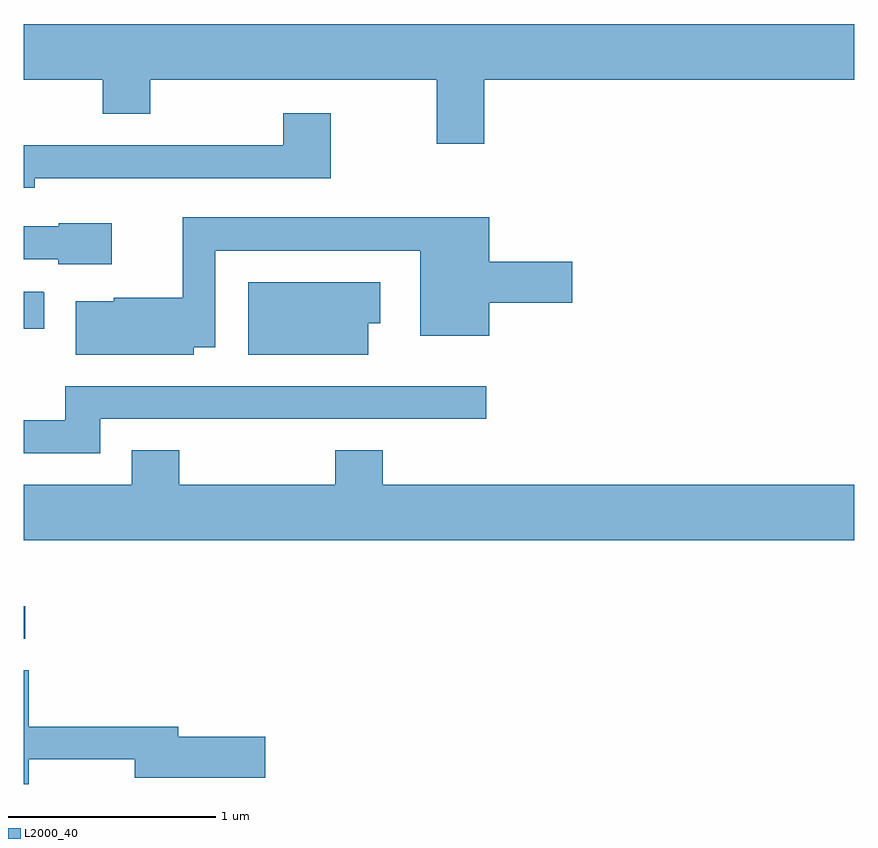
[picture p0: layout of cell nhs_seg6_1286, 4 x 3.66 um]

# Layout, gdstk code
import gdstk
lib = gdstk.Library(unit=1e-6, precision=1e-09)
def R(c, l, rs):  # rectangles x0, y0, x1, y1
    for r in rs: c.add(gdstk.rectangle(r[:2], r[2:], *l))
def P(c, l, *ps):  # polygons
    for p in ps: c.add(gdstk.Polygon(p, *l))
L2000_40 = (2000, 40)

nhs_seg6_1286 = lib.new_cell('nhs_seg6_1286')
R(nhs_seg6_1286, L2000_40, [(223.611,1582.861,223.618,1583.019)])
P(nhs_seg6_1286, L2000_40, [(225.829,1585.556),(227.611,1585.556),(227.611,1585.824),(223.611,1585.824),(223.611,1585.556),(223.991,1585.556),(223.991,1585.391),(224.219,1585.391),(224.219,1585.556),(225.601,1585.556),(225.601,1585.246),(225.829,1585.246)],
  [(223.664,1585.081),(225.089,1585.081),(225.089,1585.394),(224.861,1585.394),(224.861,1585.239),(223.611,1585.239),(223.611,1585.036),(223.664,1585.036)],
  [(224.429,1584.266),(224.534,1584.266),(224.534,1584.731),(225.521,1584.731),(225.521,1584.321),(225.854,1584.321),(225.854,1584.481),(226.254,1584.481),(226.254,1584.679),(225.854,1584.679),(225.854,1584.894),(224.376,1584.894),(224.376,1584.504),(224.045,1584.504),(224.045,1584.489),(223.861,1584.489),(223.861,1584.231),(224.429,1584.231)],
  [(224.034,1584.864),(223.78,1584.864),(223.78,1584.849),(223.611,1584.849),(223.611,1584.691),(223.776,1584.691),(223.776,1584.666),(224.034,1584.666)],
  [(225.269,1584.381),(225.329,1584.381),(225.329,1584.579),(224.691,1584.579),(224.691,1584.231),(225.269,1584.231)],
  [(223.709,1584.529),(223.704,1584.534),(223.611,1584.534),(223.611,1584.356),(223.709,1584.356)],
  [(223.979,1583.921),(225.838,1583.921),(225.838,1584.079),(223.811,1584.079),(223.811,1583.914),(223.611,1583.914),(223.611,1583.756),(223.979,1583.756)],
  [(227.611,1583.604),(225.339,1583.604),(225.339,1583.769),(225.111,1583.769),(225.111,1583.604),(224.359,1583.604),(224.359,1583.769),(224.131,1583.769),(224.131,1583.604),(223.611,1583.604),(223.611,1583.336),(227.611,1583.336)],
  [(223.634,1582.281),(224.146,1582.281),(224.146,1582.191),(224.774,1582.191),(224.774,1582.389),(224.354,1582.389),(224.354,1582.439),(223.634,1582.439),(223.634,1582.709),(223.611,1582.709),(223.611,1582.162),(223.634,1582.162)])

lib.write_gds('nhs_seg6_1286.gds')
